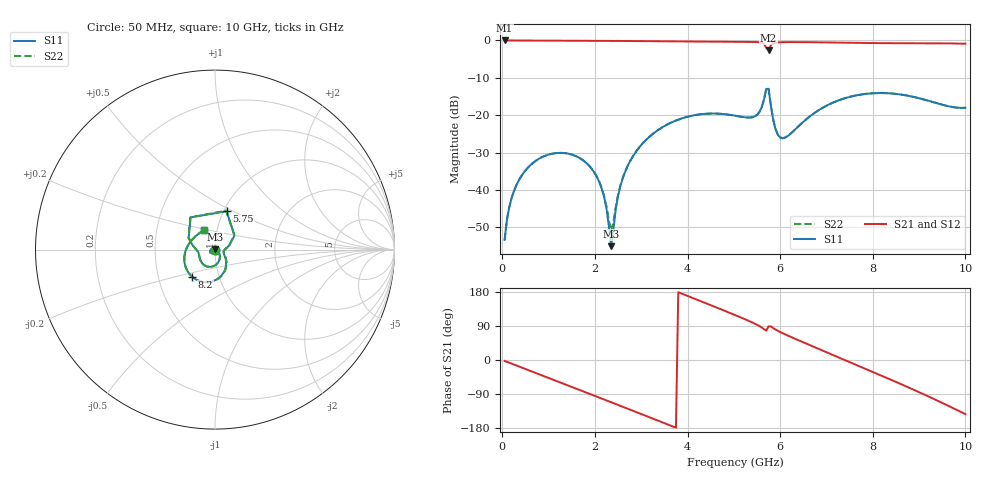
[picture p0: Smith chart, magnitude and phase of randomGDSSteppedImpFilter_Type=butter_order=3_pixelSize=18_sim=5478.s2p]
! freq	dB(S11)	phase(S11)	dB(S12)	phase(S12)
!  dB(S21)	phase(S21)	dB(S22)	phase(S22)
!S-par simulation data
#  GHz  S  DB  R 50
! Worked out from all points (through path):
!   200 points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, 50 MHz to 10 GHz, reference 50 ohm
!   highest |S21| = -0.01 dB at 50 MHz (marker M1); lowest = -2.7 dB at 5.75 GHz (marker M2)
!   group delay of S21, straight-line fit = 138 ps
!   lowest |S11| = -55.1 dB at 2.35 GHz (marker M3), VSWR 1.00, Z = 50 + j0.174 ohm
!   |S11| at or under -10 dB: start of sweep to end of sweep
!   |S22| runs from -53.4 to -12.9 dB; largest |S21 - S12| = 0
!   S11 on the Smith chart (normalised r, x): 50 MHz: 1.00, -0.00; 5.75 GHz: 1.03, +0.47; 8.2 GHz: 0.74, -0.23; 10 GHz: 0.87, +0.20
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0.05  -53.40 -79.4  -0.01 -2.4  -0.01 -2.4  -53.41 -79.3
0.2  -42.22 -96.0  -0.02 -9.5  -0.02 -9.5  -42.23 -96.1
0.55  -34.08 -115.6  -0.03 -26.1  -0.03 -26.1  -34.08 -116.0
1.75  -32.13 -175.9  -0.10 -82.8  -0.10 -82.8  -32.12 -177.8
2.15  -39.76 159.8  -0.12 -101.8  -0.12 -101.8  -39.61 153.9
2.35  -55.06 80.1  -0.13 -111.3  -0.13 -111.3  -50.97 74.0
2.5  -41.61 -17.7  -0.14 -118.5  -0.14 -118.5  -41.26 -9.9
2.65  -35.25 -30.3  -0.15 -125.7  -0.15 -125.7  -35.15 -26.3
3.4  -23.68 -69.9  -0.22 -161.8  -0.22 -161.8  -23.67 -69.0
4.2  -19.90 -108.7  -0.31 159.4  -0.31 159.4  -19.90 -108.4
5.05  -20.18 -149.9  -0.37 117.4  -0.37 117.4  -20.19 -150.3
5.5  -19.93 -177.3  -0.44 93.1  -0.44 93.1  -19.93 -177.8
5.7  -12.96 127.0  -2.00 77.6  -2.00 77.6  -12.91 127.6
5.75  -13.01 73.0  -2.65 88.7  -2.65 88.7  -12.93 74.1
5.85  -21.27 18.0  -0.77 84.2  -0.77 84.2  -21.17 20.4
6  -25.99 -7.9  -0.49 73.9  -0.49 73.9  -25.90 -4.2
6.7  -19.78 -52.9  -0.48 36.1  -0.48 36.1  -19.77 -51.0
7.45  -15.28 -91.1  -0.62 -2.8  -0.62 -2.8  -15.27 -89.9
8.2  -14.08 -129.8  -0.73 -41.9  -0.73 -41.9  -14.08 -128.9
8.35  -14.15 -137.8  -0.74 -49.8  -0.74 -49.8  -14.14 -136.9
9.2  -16.13 174.3  -0.76 -96.1  -0.76 -96.1  -16.14 175.0
10  -18.02 118.0  -0.88 -142.9  -0.88 -142.9  -18.02 117.8
